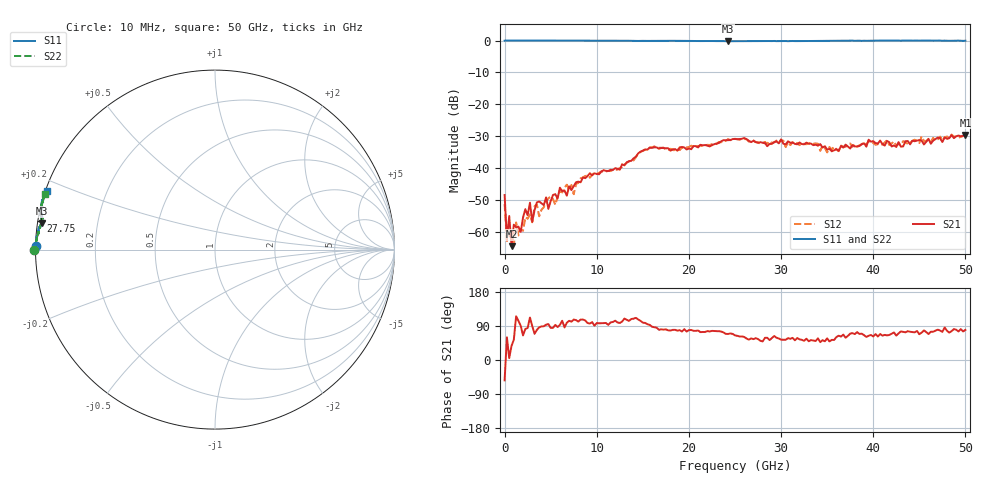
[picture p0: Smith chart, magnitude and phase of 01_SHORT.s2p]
!  2-Port S-parameters saved by WinCal
! VAR MeasName=S-Parameters (CALIBRATED_DATA) read from VNA (N5245A)
! VAR MeasDate=4/1/2014 5:32:02 PM
! VAR NAME=01_SHORT
! VAR FILENAME=01_SHORT.s2p
! VAR DATE=4/1/2014 5:32:02 PM
! VAR PHYS_PORTS=1,2
! VAR ObjTypeName=DATASET
! VAR IndexType=Frequency
# Hz S RI R 50
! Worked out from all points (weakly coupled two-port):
!   201 points, 10 MHz to 50 GHz, reference 50 ohm
!   highest |S21| = -29.61 dB at 50 GHz (marker M1); lowest = -64.4 dB at 759.9 MHz (marker M2)
!   lowest |S11| = -0.2 dB at 24.26 GHz (marker M3), VSWR 80.01, Z = 0.628 + j3.76 ohm
!   |S11| at or under -10 dB: nowhere
!   |S22| runs from -0.2 to 0.1 dB; largest |S21 - S12| = 0.0054
!   S11 on the Smith chart (normalised r, x): 10 MHz: 0.00, +0.01; 27.75 GHz: 0.01, +0.08; 50 GHz: 0.00, +0.17
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1e7  -0.9947 0.0189  0.00224 -0.00307  -0.00193 -0.00193  -1.011 -0.00265
2.5995e8  -1.001 -0.00323  0.000388 0.000666  0.000723 5.74e-05  -1 -0.00266
5.099e8  -1.001 0.00283  0.00178 0.000152  0.000389 -0.000735  -1 0.0065
7.5985e8  -1 0.0061  0.000478 0.000364  0.000694 0.000789  -0.999 0.00425
1.0098e9  -0.9998 0.00588  0.000775 0.00105  -0.000429 0.00044  -0.9989 0.00497
1.25975e9  -0.9995 0.00921  -0.000508 0.00107  -7.12e-05 0.00141  -1.001 0.0075
1.5097e9  -0.9996 0.00723  -0.000281 0.00118  0.000346 0.000815  -1 0.00884
2.75945e9  -0.9988 0.0179  -0.00108 0.00267  -0.00042 0.00184  -1 0.0152
3.0094e9  -0.9996 0.0205  1.23e-05 0.00146  -0.000269 0.0014  -0.9986 0.0188
3.5093e9  -0.9978 0.0231  0.000531 0.00286  2.67e-05 0.00271  -0.9986 0.0204
3.75925e9  -1 0.0254  0.000203 0.003  -0.000205 0.00175  -0.9992 0.0224
4.75905e9  -0.999 0.0298  -0.00019 0.0023  -2.82e-05 0.00338  -0.9978 0.0302
6.0088e9  -0.9986 0.0395  -0.000224 0.00495  0.000418 0.00436  -0.9982 0.039
7.5085e9  -0.9947 0.0504  -0.0015 0.00499  -0.000141 0.00391  -0.9942 0.0486
8.5083e9  -0.9939 0.0567  -0.00206 0.00686  -0.00215 0.0068  -0.9945 0.0541
1.675665e10  -0.9841 0.1023  0.00359 0.0198  0.00303 0.0207  -0.9839 0.0991
2.425515e10  -0.9644 0.1458  0.00998 0.0256  0.00966 0.0268  -0.9693 0.1379
2.5005e10  -0.9661 0.1477  0.0122 0.026  0.0123 0.0262  -0.9698 0.1422
2.775445e10  -0.9706 0.1579  0.0162 0.0198  0.0147 0.0193  -0.9708 0.1542
3.35033e10  -0.9639 0.1966  0.0143 0.018  0.0144 0.0194  -0.9663 0.179
4.175165e10  -0.963 0.254  0.0103 0.0233  0.0105 0.0205  -0.9694 0.2404
5e10  -0.9383 0.3252  0.00608 0.0325  0.00877 0.0324  -0.946 0.31
